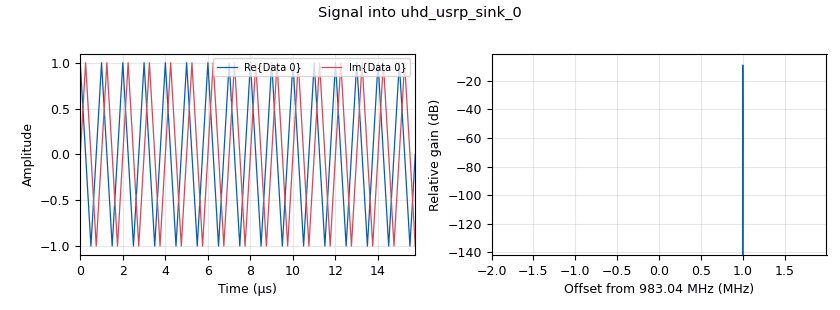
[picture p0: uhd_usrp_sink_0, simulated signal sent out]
options:
  parameters:
    author: zapman
    generate_options: qt_gui
    id: Sine
    output_language: python
    title: Not titled yet
  states: {}

blocks:
- name: samp_rate
  id: variable
  parameters:
    value: 4e6
  states: {}
- name: analog_sig_source_x_0
  id: analog_sig_source_x
  parameters:
    amp: '1'
    freq: 1e6
    offset: '0'
    phase: '0'
    samp_rate: samp_rate
    type: complex
    waveform: analog.GR_COS_WAVE
  states: {}
- name: uhd_usrp_sink_0
  id: uhd_usrp_sink
  parameters:
    ant0: '"TX/RX"'
    center_freq0: 983.04e6
    gain0: '40'
    samp_rate: samp_rate
    sync: sync
    type: fc32
  states: {}

connections:
- [analog_sig_source_x_0, '0', uhd_usrp_sink_0, '0']

metadata:
  file_format: 1
  grc_version: 3.10.9.2
